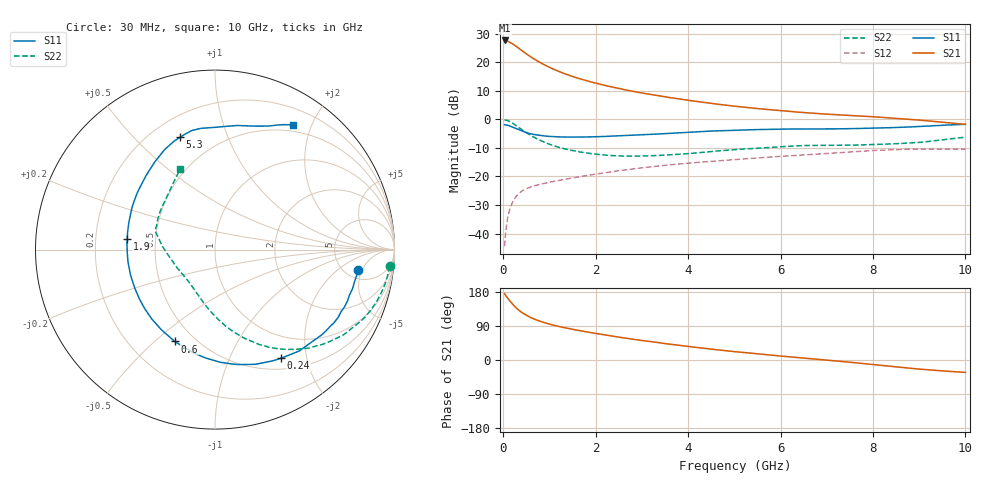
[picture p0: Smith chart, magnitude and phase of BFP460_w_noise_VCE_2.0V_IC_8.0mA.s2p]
! (c) 2016  Infineon Technologies AG, Munich
! Infineon Technologies  Discrete & RF Semiconductors
! BFP460
! VCE =  2.0 V,  IC =  8.0 mA
! Common Emitter S-Parameters:  Jan 2016
# GHz  S  MA  R  50
!  f  S11  S21  S12  S22
! GHz  MAG  ANG  MAG  ANG  MAG  ANG  MAG  ANG
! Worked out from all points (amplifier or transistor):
!   229 points, 30 MHz to 10 GHz, reference 50 ohm
!   highest |S21| = 27.6 dB at 30 MHz (marker M1)
!   |S21| within 3 dB of that: start of sweep to 358.2 MHz
!   unconditionally stable (mu >= 1): 2.64 GHz to 8.23 GHz
!   at 280 MHz: K = 0.23, MSG = 26.3 dB, |S12| = -27.0 dB
!   at 1.78 GHz: K = 0.88, MSG = 16.7 dB, |S12| = -19.8 dB
!   at 10 GHz: K = 0.98, MSG = 4.4 dB, |S12| = -10.5 dB
!   lowest NFmin = 0.89 dB at 450 MHz
!   S11 on the Smith chart (normalised r, x): 30 MHz: 6.49, -4.15; 240 MHz: 0.65, -1.58; 600 MHz: 0.39, -0.58; 1.9 GHz: 0.34, +0.05; 5.3 GHz: 0.31, +0.69; 10 GHz: 0.41, +1.73
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0.03  0.8038 -8.1  24.12 175.1  0.006 86.3  0.977 -5.4
0.05  0.7977 -13.0  23.87 170.7  0.01 82.8  0.9716 -9.0
0.07  0.7909 -18.7  23.84 167.3  0.0137 80.9  0.9635 -12.6
0.14  0.7661 -36.3  22.57 156.3  0.0263 72.0  0.9152 -24.5
0.2  0.7341 -50.3  21.12 147.6  0.0352 65.6  0.8589 -33.6
0.24  0.7084 -58.7  20.07 142.5  0.0402 61.9  0.8177 -38.9
0.3  0.6776 -70.6  18.54 135.3  0.0468 57.4  0.7571 -46.4
0.4  0.6275 -87.6  16.11 125.6  0.055 51.5  0.6632 -56.7
0.5  0.5881 -101.7  14.05 118.0  0.061 47.5  0.5846 -64.9
0.6  0.5587 -113.7  12.37 111.7  0.0657 44.8  0.521 -71.6
0.8  0.5228 -132.5  9.852 102.0  0.0729 41.9  0.4277 -82.4
1  0.5029 -146.9  8.153 94.7  0.0792 40.7  0.3662 -90.8
1.3  0.4915 -163.3  6.436 85.9  0.0881 40.3  0.3087 -100.9
1.7  0.4897 -179.9  5.019 76.4  0.1003 40.1  0.265 -112.0
1.9  0.4933 173.1  4.522 72.2  0.1066 40.0  0.2513 -117.1
2.6  0.5194 152.7  3.341 58.5  0.1291 38.2  0.2274 -135.3
3.4  0.557 135.0  2.559 45.2  0.1537 34.7  0.2341 -154.4
5.1  0.649 109.5  1.668 21.0  0.1994 26.4  0.2985 174.8
5.3  0.6552 107.4  1.604 18.8  0.2052 25.4  0.3049 172.7
6.8  0.679 93.8  1.265 1.9  0.2465 16.8  0.3493 161.8
8.4  0.7158 74.2  1.056 -16.9  0.2937 4.3  0.372 145.3
10  0.819 58.1  0.818 -32.7  0.2979 -7.7  0.4877 113.6
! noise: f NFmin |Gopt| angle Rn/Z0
0.45  0.89  0.2  13  0.14
1.9  1.1  0.09  121  0.12
3.5  1.17  0.33  -142  0.11
